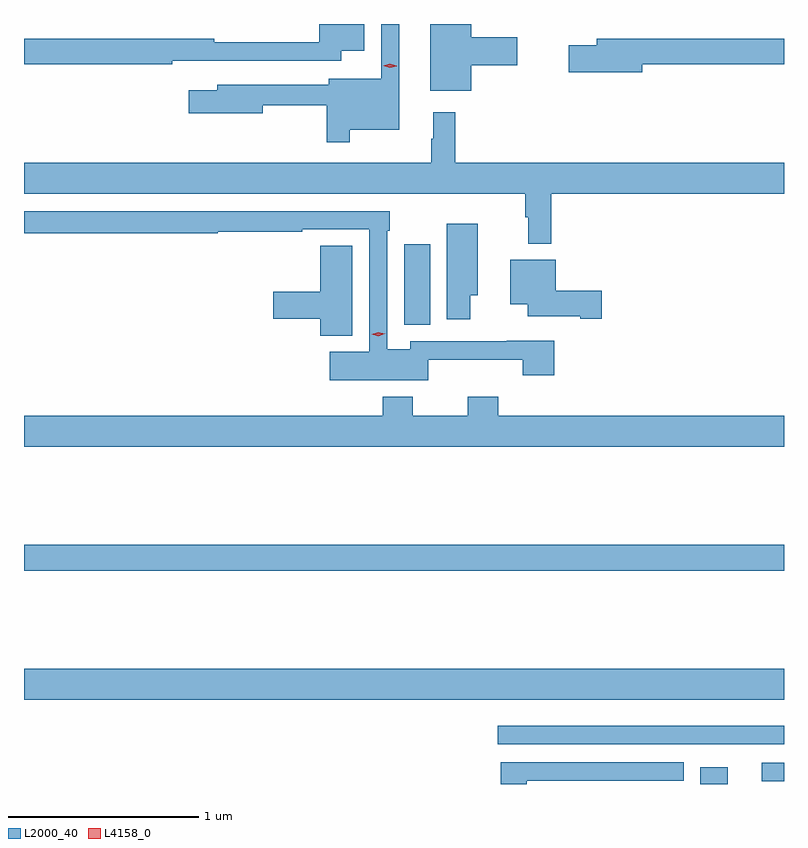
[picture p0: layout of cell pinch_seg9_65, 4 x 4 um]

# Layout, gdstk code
import gdstk
lib = gdstk.Library(unit=1e-6, precision=1e-09)
def R(c, l, rs):  # rectangles x0, y0, x1, y1
    for r in rs: c.add(gdstk.rectangle(r[:2], r[2:], *l))
def P(c, l, *ps):  # polygons
    for p in ps: c.add(gdstk.Polygon(p, *l))
L2000_40 = (2000, 40)
L4158_0 = (4158, 0)

pinch_seg9_65 = lib.new_cell('pinch_seg9_65')
R(pinch_seg9_65, L2000_40, [(961.01,1169.337,961.156,1169.425), (961.335,1169.351,961.452,1169.448), (959.946,1169.547,961.452,1169.644), (957.452,1169.78,961.452,1169.944), (957.452,1170.46,961.452,1170.596), (959.453,1171.753,959.59,1172.179)])
P(pinch_seg9_65, L2000_40, [(959.167,1172.78),(959.428,1172.78),(959.428,1173.337),(959.331,1173.337),(959.331,1173.049),(959.057,1173.049),(959.057,1173.018),(958.469,1173.018),(958.469,1172.989),(958.32,1172.989),(958.32,1172.867),(958.708,1172.867),(958.708,1172.91),(959.046,1172.91),(959.046,1172.715),(959.167,1172.715)],
  [(958.232,1173.144),(959.122,1173.144),(959.122,1173.197),(959.242,1173.197),(959.242,1173.337),(959.006,1173.337),(959.006,1173.24),(958.454,1173.24),(958.454,1173.26),(957.452,1173.26),(957.452,1173.124),(958.232,1173.124)],
  [(959.806,1173.119),(960.049,1173.119),(960.049,1173.266),(959.806,1173.266),(959.806,1173.337),(959.591,1173.337),(959.591,1172.987),(959.806,1172.987)],
  [(960.706,1173.124),(961.452,1173.124),(961.452,1173.26),(960.467,1173.26),(960.467,1173.224),(960.318,1173.224),(960.318,1173.082),(960.706,1173.082)],
  [(960.227,1172.444),(961.452,1172.444),(961.452,1172.608),(959.723,1172.608),(959.723,1172.872),(959.606,1172.872),(959.606,1172.732),(959.595,1172.732),(959.595,1172.608),(957.452,1172.608),(957.452,1172.444),(960.091,1172.444),(960.091,1172.321),(960.106,1172.321),(960.106,1172.181),(960.227,1172.181)],
  [(959.58,1171.571),(960.077,1171.571),(960.077,1171.488),(960.242,1171.488),(960.242,1171.669),(959.993,1171.669),(959.993,1171.668),(959.484,1171.668),(959.484,1171.624),(959.364,1171.624),(959.364,1172.249),(959.377,1172.249),(959.377,1172.352),(957.452,1172.352),(957.452,1172.236),(958.471,1172.236),(958.471,1172.244),(958.916,1172.244),(958.916,1172.256),(959.268,1172.256),(959.268,1171.612),(959.061,1171.612),(959.061,1171.463),(959.58,1171.463)],
  [(959.8,1171.91),(959.839,1171.91),(959.839,1172.287),(959.678,1172.287),(959.678,1171.782),(959.8,1171.782)],
  [(959.179,1172.171),(959.012,1172.171),(959.012,1171.929),(958.764,1171.929),(958.764,1171.787),(959.012,1171.787),(959.012,1171.697),(959.179,1171.697)],
  [(960.493,1171.934),(960.25,1171.934),(960.25,1172.095),(960.011,1172.095),(960.011,1171.862),(960.104,1171.862),(960.104,1171.799),(960.38,1171.799),(960.38,1171.787),(960.493,1171.787)],
  [(961.452,1171.276),(959.948,1171.276),(959.948,1171.375),(959.788,1171.375),(959.788,1171.276),(959.499,1171.276),(959.499,1171.375),(959.339,1171.375),(959.339,1171.276),(957.452,1171.276),(957.452,1171.112),(961.452,1171.112)],
  [(960.098,1169.354),(960.925,1169.354),(960.925,1169.451),(959.962,1169.451),(959.962,1169.337),(960.098,1169.337)])
P(pinch_seg9_65, L4158_0, [(959.377,1173.107),(959.342,1173.118),(959.341,1173.118),(959.342,1173.118),(959.378,1173.127),(959.413,1173.116),(959.413,1173.115),(959.413,1173.115)],
  [(959.317,1171.694),(959.282,1171.703),(959.282,1171.703),(959.282,1171.703),(959.316,1171.714),(959.351,1171.706),(959.352,1171.706),(959.351,1171.706)])

lib.write_gds('pinch_seg9_65.gds')
